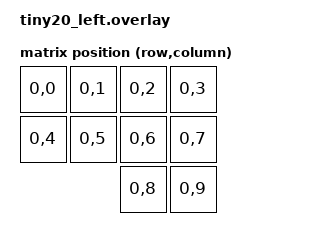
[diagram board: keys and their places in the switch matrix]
/*
 * Copyright (c) 2022 The ZMK Contributors
 *
 * SPDX-License-Identifier: MIT
 */

#include "tiny20.dtsi"

/ {
	chosen {
		zmk,physical-layout = &physical_layout_left;
		zmk,matrix_transform = &left_transform;
	};

	left_transform: matrix_transform_left {
		compatible = "zmk,matrix-transform";
		columns = <10>;
		rows = <1>;
		map = <
			RC(0,0)  RC(0,1)  RC(0,2)  RC(0,3)
			RC(0,4)  RC(0,5)  RC(0,6)  RC(0,7)
			                 RC(0,8)  RC(0,9)
		>;
	};

	physical_layout_left: physical_layout_left {
		compatible = "zmk,physical-layout";
		display-name = "Left Half";
		transform = <&left_transform>;
		keys
			= <&key_physical_attrs 100 100   0   0>
			, <&key_physical_attrs 100 100 100   0>
			, <&key_physical_attrs 100 100 200   0>
			, <&key_physical_attrs 100 100 300   0>
			, <&key_physical_attrs 100 100   0 100>
			, <&key_physical_attrs 100 100 100 100>
			, <&key_physical_attrs 100 100 200 100>
			, <&key_physical_attrs 100 100 300 100>
			, <&key_physical_attrs 125 100   0 200>
			, <&key_physical_attrs 175 100 125 200>
			;
	};
};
